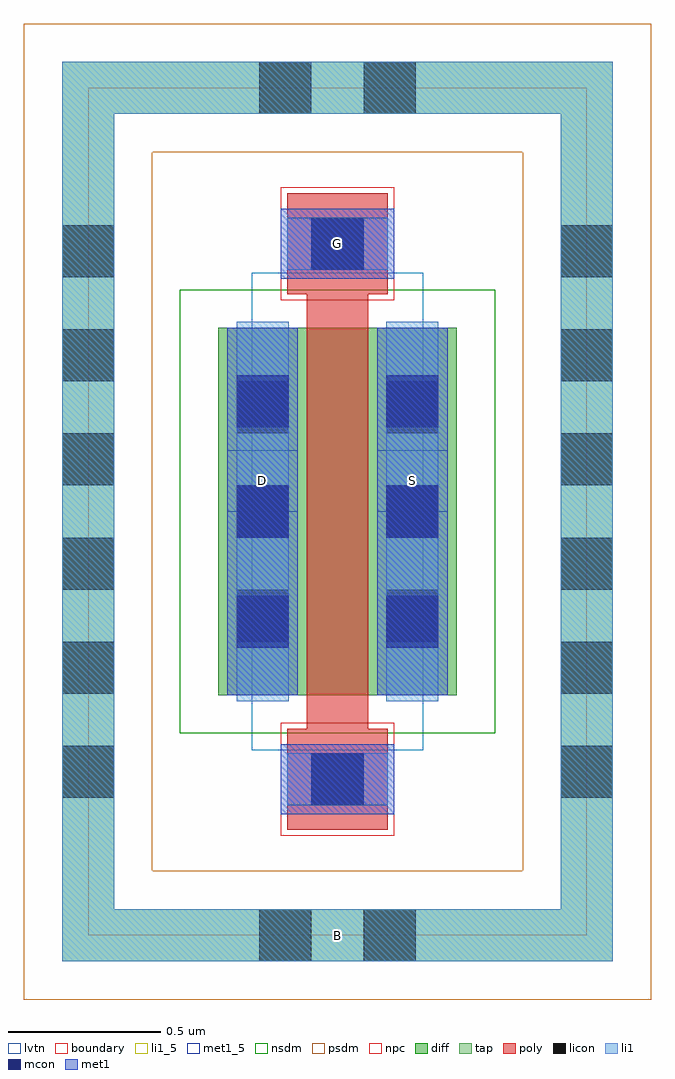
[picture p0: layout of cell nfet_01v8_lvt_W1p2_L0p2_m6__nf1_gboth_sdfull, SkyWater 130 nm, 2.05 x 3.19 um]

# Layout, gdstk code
import gdstk
lib = gdstk.Library(unit=1e-6, precision=1e-09)
def R(c, l, rs):  # rectangles x0, y0, x1, y1
    for r in rs: c.add(gdstk.rectangle(r[:2], r[2:], *l))
def A(c, l, x, y, w, h, nx, ny, dx, dy):  # array of equal rectangles
    R(c, l, [(x+i*dx, y+j*dy, x+i*dx+w, y+j*dy+h) for i in range(nx) for j in range(ny)])
diff = (65, 20)
tap = (65, 44)
poly = (66, 20)
licon = (66, 44)
li1_5 = (67, 5)
li1 = (67, 20)
mcon = (67, 44)
met1_5 = (68, 5)
met1 = (68, 20)
nsdm = (93, 44)
psdm = (94, 20)
npc = (95, 20)
lvtn = (125, 44)
boundary = (235, 4)

sky130_fd_pr__nfet_01v8_ = lib.new_cell('sky130_fd_pr__nfet_01v8_lvt_AR5CFQ')
R(sky130_fd_pr__nfet_01v8_, diff, [(-0.39,-0.6,0.39,0.6)])
R(sky130_fd_pr__nfet_01v8_, tap, [(-0.9,-1.47,0.9,-1.3), (-0.9,-1.3,-0.73,1.3), (0.73,-1.3,0.9,1.3), (-0.9,1.3,0.9,1.47)])
R(sky130_fd_pr__nfet_01v8_, poly, [(-0.165,-1.04,0.165,-0.71), (-0.1,-0.71,0.1,0.71), (-0.165,0.71,0.165,1.04)])
A(sky130_fd_pr__nfet_01v8_, licon, -0.9, -0.935, 0.17, 0.17, 1, 6, 0, 0.34)
A(sky130_fd_pr__nfet_01v8_, licon, 0.73, -0.935, 0.17, 0.17, 1, 6, 0, 0.34)
A(sky130_fd_pr__nfet_01v8_, licon, -0.33, -0.425, 0.17, 0.17, 1, 3, 0, 0.34)
A(sky130_fd_pr__nfet_01v8_, licon, 0.16, -0.425, 0.17, 0.17, 1, 3, 0, 0.34)
R(sky130_fd_pr__nfet_01v8_, licon, [(-0.255,-1.47,-0.085,-1.3), (0.085,-1.47,0.255,-1.3), (-0.085,-0.96,0.085,-0.79), (-0.085,0.79,0.085,0.96), (-0.255,1.3,-0.085,1.47), (0.085,1.3,0.255,1.47)])
R(sky130_fd_pr__nfet_01v8_, li1, [(-0.9,-1.47,0.9,-1.3), (-0.9,-1.3,-0.73,1.3), (0.73,-1.3,0.9,1.3), (-0.165,-0.96,0.165,-0.79), (-0.33,-0.62,-0.16,0.62), (0.16,-0.62,0.33,0.62), (-0.165,0.79,0.165,0.96), (-0.9,1.3,0.9,1.47)])
A(sky130_fd_pr__nfet_01v8_, mcon, -0.33, -0.445, 0.17, 0.17, 1, 3, 0, 0.36)
A(sky130_fd_pr__nfet_01v8_, mcon, 0.16, -0.445, 0.17, 0.17, 1, 3, 0, 0.36)
R(sky130_fd_pr__nfet_01v8_, mcon, [(-0.085,-0.96,0.085,-0.79), (-0.085,0.79,0.085,0.96)])
R(sky130_fd_pr__nfet_01v8_, met1, [(-0.145,-0.99,0.145,-0.76), (-0.36,-0.6,-0.13,0.6), (0.13,-0.6,0.36,0.6), (-0.145,0.76,0.145,0.99)])
R(sky130_fd_pr__nfet_01v8_, nsdm, [(-0.515,-0.725,0.515,0.725)])
R(sky130_fd_pr__nfet_01v8_, psdm, [(-1.025,-1.595,1.025,-1.175), (-1.025,-1.175,-0.605,1.175), (0.605,-1.175,1.025,1.175), (-1.025,1.175,1.025,1.595)])
R(sky130_fd_pr__nfet_01v8_, npc, [(-0.185,-1.06,0.185,-0.69), (-0.185,0.69,0.185,1.06)])
R(sky130_fd_pr__nfet_01v8_, lvtn, [(-0.28,-0.78,0.28,0.78)])
R(sky130_fd_pr__nfet_01v8_, boundary, [(-0.815,-1.385,0.815,1.385)])
sky130_fd_pr__nfet_01v8_.add(gdstk.Label('B', (0,-1.385), layer=67, texttype=5))
sky130_fd_pr__nfet_01v8_.add(gdstk.Label('D', (-0.245,0), layer=67, texttype=5))
sky130_fd_pr__nfet_01v8_.add(gdstk.Label('S', (0.245,0), layer=67, texttype=5))
sky130_fd_pr__nfet_01v8_.add(gdstk.Label('G', (0,0.875), layer=67, texttype=5))

nfet_01v8_lvt_w1p2_l0p2_ = lib.new_cell('nfet_01v8_lvt_W1p2_L0p2_m6__nf1_gboth_sdfull')
R(nfet_01v8_lvt_w1p2_l0p2_, li1_5, [(0.73,-0.085,0.9,0.085)])
R(nfet_01v8_lvt_w1p2_l0p2_, li1, [(0.73,-0.085,0.9,0.085)])
R(nfet_01v8_lvt_w1p2_l0p2_, met1_5, [(0.455,1.385,0.685,1.585), (0.945,1.385,1.175,1.585), (0.63,2.145,1,2.375)])
R(nfet_01v8_lvt_w1p2_l0p2_, met1, [(0.63,0.395,1,0.625), (0.455,1.385,0.685,1.585), (0.945,1.385,1.175,1.585), (0.63,2.145,1,2.375)])
nfet_01v8_lvt_w1p2_l0p2_.add(gdstk.Reference(sky130_fd_pr__nfet_01v8_, (0.815,1.385)))
nfet_01v8_lvt_w1p2_l0p2_.add(gdstk.Label('D', (0.57,1.485), layer=68, texttype=5))
nfet_01v8_lvt_w1p2_l0p2_.add(gdstk.Label('S', (1.06,1.485), layer=68, texttype=5))
nfet_01v8_lvt_w1p2_l0p2_.add(gdstk.Label('G', (0.815,2.26), layer=68, texttype=5))
nfet_01v8_lvt_w1p2_l0p2_.add(gdstk.Label('B', (0.815,0), layer=67, texttype=5))

lib.write_gds('nfet_01v8_lvt_W1p2_L0p2_m6__nf1_gboth_sdfull.gds')
